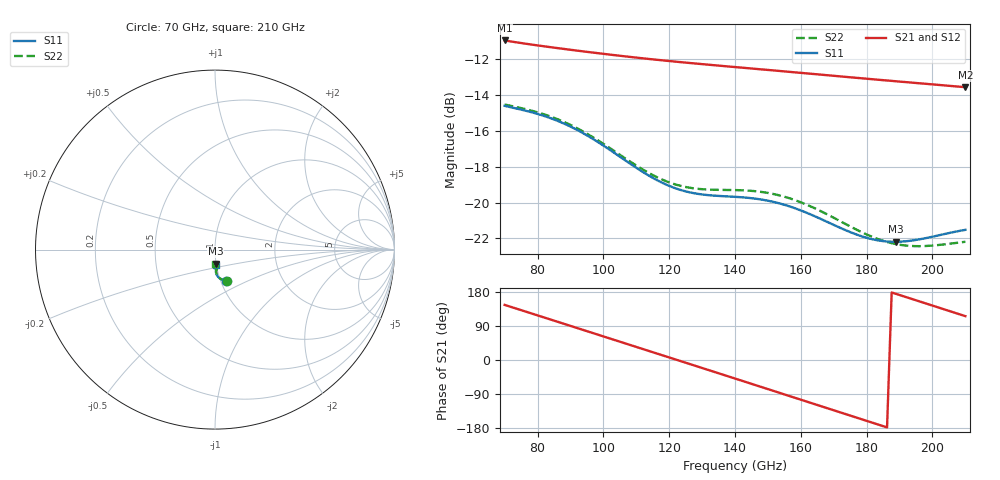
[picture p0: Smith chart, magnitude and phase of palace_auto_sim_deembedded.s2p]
! Created with skrf 1.11.0 (http://scikit-rf.org).
# GHz S DB R 50.0
!freq dBS11 angS11 dBS21 angS21 dBS12 angS12 dBS22 angS22
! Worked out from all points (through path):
!   101 points, 70 GHz to 210 GHz, reference 50 ohm
!   highest |S21| = -10.97 dB at 70 GHz (marker M1); lowest = -13.6 dB at 210 GHz (marker M2)
!   group delay of S21, straight-line fit = 7.74 ps
!   lowest |S11| = -22.2 dB at 189 GHz (marker M3), VSWR 1.17, Z = 49.8 - j7.78 ohm
!   |S11| at or under -10 dB: start of sweep to end of sweep
!   |S22| runs from -22.4 to -14.5 dB; largest |S21 - S12| = 2.7e-13
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70  -14.61 -70.1  -10.97 145.4  -10.97 145.4  -14.54 -69.3
77  -14.91 -72.9  -11.17 126.1  -11.17 126.1  -14.83 -72.2
82.6  -15.21 -75.9  -11.31 110.6  -11.31 110.6  -15.12 -75.2
88.2  -15.61 -79.2  -11.45 95.0  -11.45 95.0  -15.52 -78.6
93.8  -16.13 -82.4  -11.58 79.5  -11.58 79.5  -16.04 -81.8
99.4  -16.75 -85.1  -11.70 63.9  -11.70 63.9  -16.66 -84.4
106.4  -17.62 -87.2  -11.85 44.5  -11.85 44.5  -17.51 -86.4
112  -18.30 -87.7  -11.97 29.0  -11.97 29.0  -18.16 -86.8
117.6  -18.87 -87.1  -12.07 13.4  -12.07 13.4  -18.70 -86.2
123.2  -19.28 -86.0  -12.17 -2.1  -12.17 -2.1  -19.06 -85.1
128.8  -19.52 -85.0  -12.27 -17.7  -12.27 -17.7  -19.24 -84.3
140  -19.68 -85.1  -12.45 -48.9  -12.45 -48.9  -19.30 -85.1
147  -19.80 -86.8  -12.57 -68.4  -12.57 -68.4  -19.38 -87.4
152.6  -20.00 -88.5  -12.66 -84.1  -12.66 -84.1  -19.56 -89.8
158.2  -20.32 -90.3  -12.75 -99.7  -12.75 -99.7  -19.86 -92.3
163.8  -20.73 -91.6  -12.84 -115.4  -12.84 -115.4  -20.28 -94.4
176.4  -21.74 -91.1  -13.05 -150.5  -13.05 -150.5  -21.46 -96.0
182  -22.05 -89.4  -13.14 -166.2  -13.14 -166.2  -21.93 -95.1
187.6  -22.18 -87.3  -13.22 178.2  -13.22 178.2  -22.26 -93.4
189  -22.18 -86.8  -13.25 174.3  -13.25 174.3  -22.32 -92.9
198.8  -21.95 -84.6  -13.40 146.9  -13.40 146.9  -22.41 -90.0
210  -21.52 -85.6  -13.58 115.7  -13.58 115.7  -22.18 -89.2
